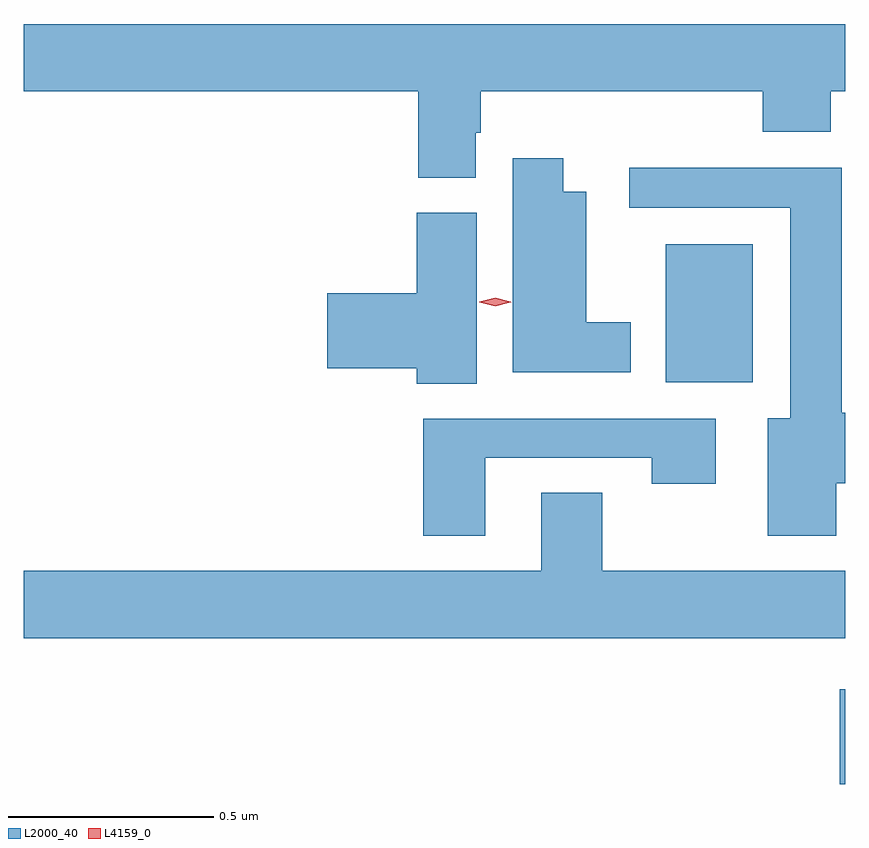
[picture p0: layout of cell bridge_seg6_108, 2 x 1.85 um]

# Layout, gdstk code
import gdstk
lib = gdstk.Library(unit=1e-6, precision=1e-09)
def R(c, l, rs):  # rectangles x0, y0, x1, y1
    for r in rs: c.add(gdstk.rectangle(r[:2], r[2:], *l))
def P(c, l, *ps):  # polygons
    for p in ps: c.add(gdstk.Polygon(p, *l))
L2000_40 = (2000, 40)
L4159_0 = (4159, 0)

bridge_seg6_108 = lib.new_cell('bridge_seg6_108')
R(bridge_seg6_108, L2000_40, [(388.38,938.989,388.393,939.22), (387.956,939.968,388.168,940.303)])
P(bridge_seg6_108, L2000_40, [(386.393,940.676),(387.353,940.676),(387.353,940.465),(387.493,940.465),(387.493,940.575),(387.506,940.575),(387.506,940.676),(388.193,940.676),(388.193,940.577),(388.358,940.577),(388.358,940.676),(388.393,940.676),(388.393,940.84),(386.393,940.84)],
  [(387.871,940.114),(387.763,940.114),(387.763,940.432),(387.706,940.432),(387.706,940.513),(387.584,940.513),(387.584,939.992),(387.871,939.992)],
  [(388.372,939.722),(388.393,939.722),(388.393,939.893),(388.385,939.893),(388.385,940.49),(387.867,940.49),(387.867,940.392),(388.259,940.392),(388.259,939.88),(388.205,939.88),(388.205,939.594),(388.372,939.594)],
  [(387.496,940.38),(387.35,940.38),(387.35,940.184),(387.132,940.184),(387.132,940.001),(387.35,940.001),(387.35,939.964),(387.496,939.964)],
  [(387.517,939.783),(387.922,939.783),(387.922,939.72),(388.078,939.72),(388.078,939.879),(387.365,939.879),(387.365,939.594),(387.517,939.594)],
  [(388.393,939.508),(387.801,939.508),(387.801,939.698),(387.653,939.698),(387.653,939.508),(386.393,939.508),(386.393,939.344),(388.393,939.344)])
P(bridge_seg6_108, L4159_0, [(387.541,940.153),(387.502,940.162),(387.502,940.163),(387.502,940.163),(387.541,940.173),(387.579,940.163),(387.58,940.162),(387.579,940.162)])

lib.write_gds('bridge_seg6_108.gds')
